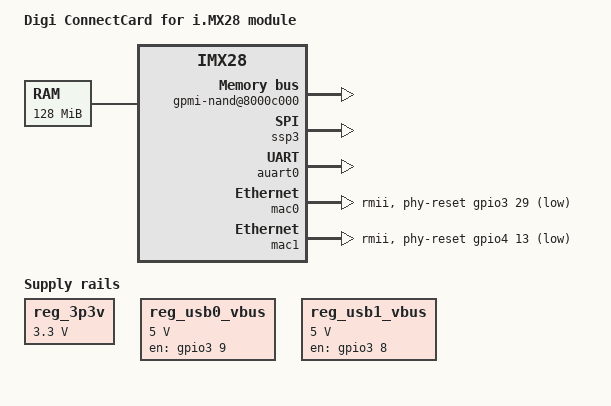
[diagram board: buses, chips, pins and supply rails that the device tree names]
/*
 * Copyright 2013 Digi International, Inc.
 *
 * The code contained herein is licensed under the GNU General Public
 * License. You may obtain a copy of the GNU General Public License
 * Version 2 or later at the following locations:
 *
 * http://www.opensource.org/licenses/gpl-license.html
 * http://www.gnu.org/copyleft/gpl.html
 */

/include/ "imx28.dtsi"

/ {
	/* This DT contains all the available interfaces of
	 * all variants of Digi ConnectCard for i.MX28 module.
	 * The boot loader may modify this device tree at run-time
	 * to accomodate it to the specific module variant detected. */
	model = "Digi ConnectCard for i.MX28 module";
	compatible = "digi,ccardimx28", "fsl,imx28";

	memory {
		/* This needs to be hacked by U-Boot
		 * to write the available DRAM */
		reg = <0x40000000 0x08000000>;
	};

	apb@80000000 {
		apbh@80000000 {
			gpmi-nand@8000c000 {
				pinctrl-names = "default";
				pinctrl-0 = <&gpmi_pins_a &gpmi_status_cfg>;
				status = "okay";
			};

			ssp0: ssp@80010000 {
				compatible = "fsl,imx28-mmc";
				pinctrl-names = "default";
				pinctrl-0 = <&mmc0_4bit_pins_a &mmc0_sck_cfg>;
				bus-width = <4>;
				broken-cd;
				vmmc-supply = <&reg_3p3v>;
				status = "disabled";
			};

			/* SSP0 as SPI port */
//			ssp0: ssp@80010000 {
//				compatible = "fsl,imx28-spi";
//				pinctrl-names = "default";
//				pinctrl-0 = <&spi0_pins_a>;
//				status = "okay";
//			};

			ssp1: ssp@80012000 {
				compatible = "fsl,imx28-spi";
				pinctrl-names = "default";
				pinctrl-0 = <&spi1_pins_a>;
				status = "disabled";
			};

			ssp2: ssp@80014000 {
				compatible = "fsl,imx28-spi";
				pinctrl-names = "default";
				pinctrl-0 = <&spi2_pins_a>;
				status = "disabled";

				flash: m25p80@0 {
					#address-cells = <1>;
					#size-cells = <1>;
					compatible = "sst,sst25vf016b";
					spi-max-frequency = <40000000>;
					reg = <0>;
				};
			};

			ssp3: ssp@80016000 {
				compatible = "fsl,imx28-spi";
				pinctrl-names = "default";
				pinctrl-0 = <&spi3_pins_a>;
				status = "okay";
			};

			can0: can@80032000 {
				pinctrl-names = "default";
				pinctrl-0 = <&can0_pins_a>;
				status = "disabled";
			};

			can1: can@80034000 {
				pinctrl-names = "default";
				pinctrl-0 = <&can1_pins_a>;
				status = "disabled";
			};

			pinctrl@80018000 {
				pinctrl-names = "default";

				led_pin_gpio3_5: led_gpio3_5@0 {
					reg = <0>;
					fsl,pinmux-ids = <
						0x3053 /* MX28_PAD_AUART1_TX__GPIO_3_5 */
					>;
					fsl,drive-strength = <0>;
					fsl,voltage = <1>;
					fsl,pull-up = <0>;
				};

				/* NAND powered at 1.8V */
				gpmi_pins_a: gpmi-nand@0 {
					fsl,voltage = <0>;
				};

				/* I2C1 has external pull-ups on module */
				i2c1_pins_a: i2c1@0 {
					fsl,pull-up = <0>;
				};

				lcdif_pins_ccard: lcdif_ccard@0 {
					reg = <0>;
					fsl,pinmux-ids = <
						0x11e0 /* MX28_PAD_LCD_DOTCLK__LCD_DOTCLK */
						0x11f0 /* MX28_PAD_LCD_ENABLE__LCD_ENABLE */
						0x31e1 /* MX28_PAD_LCD_RESET__LCD_VSYNC */
						0x11d0 /* MX28_PAD_LCD_HSYNC__LCD_HSYNC */
					>;
					fsl,drive-strength = <1>;
					fsl,voltage = <1>;
					fsl,pull-up = <0>;
				};
			};
		};

		apbx@80040000 {
			/* AUART0 connected to Atheros Bluetooth chip */
			auart0: serial@8006a000 {
				pinctrl-names = "default";
				pinctrl-0 = <&auart0_pins_a>;
				status = "okay";
			};

			saif0: saif@80042000 {
				pinctrl-names = "default";
				pinctrl-0 = <&saif0_pins_a>;
				status = "disabled";
			};

			saif1: saif@80046000 {
				pinctrl-names = "default";
				pinctrl-0 = <&saif1_pins_a>;
				fsl,saif-master = <&saif0>;
				status = "disabled";
			};

			lradc@80050000 {
				fsl,lradc-touchscreen-wires = <4>;
				status = "disabled";
			};

			usbphy0: usbphy@8007c000 {
				status = "disabled";
			};

			usbphy1: usbphy@8007e000 {
				status = "disabled";
			};
		};
	};

	ahb@80080000 {
		usb0: usb@80080000 {
			vbus-supply = <&reg_usb0_vbus>;
			status = "disabled";
		};

		usb1: usb@80090000 {
			vbus-supply = <&reg_usb1_vbus>;
			status = "disabled";
		};

		mac0: ethernet@800f0000 {
			phy-mode = "rmii";
			pinctrl-names = "default";
			pinctrl-0 = <&mac0_pins_a>;
			phy-reset-gpios = <&gpio3 29 0>;
			phy-reset-duration = <50>;
			status = "okay";
		};

		mac1: ethernet@800f4000 {
			phy-mode = "rmii";
			pinctrl-names = "default";
			pinctrl-0 = <&mac1_pins_a>;
			phy-reset-gpios = <&gpio4 13 0>;
			phy-reset-duration = <50>;
			status = "okay";
		};
	};

	regulators {
		compatible = "simple-bus";

		reg_3p3v: 3p3v {
			compatible = "regulator-fixed";
			regulator-name = "3P3V";
			regulator-min-microvolt = <3300000>;
			regulator-max-microvolt = <3300000>;
			regulator-always-on;
		};

		reg_usb0_vbus: usb0_vbus {
			compatible = "regulator-fixed";
			regulator-name = "usb0_vbus";
			regulator-min-microvolt = <5000000>;
			regulator-max-microvolt = <5000000>;
			gpio = <&gpio3 9 0>;
			enable-active-high;
		};

		reg_usb1_vbus: usb1_vbus {
			compatible = "regulator-fixed";
			regulator-name = "usb1_vbus";
			regulator-min-microvolt = <5000000>;
			regulator-max-microvolt = <5000000>;
			gpio = <&gpio3 8 0>;
			enable-active-high;
		};
	};

	/* SPI0 (GPIO) */
//	spi0 {
//		compatible = "spi-gpio";
//		pinctrl-0 = <&spi0_pins_b>;
//		gpio-sck = <&gpio2 10 0>;
//		gpio-mosi = <&gpio2 8 0>;
//		gpio-miso = <&gpio2 0 0>;
//		cs-gpios = <&gpio2 3 0>;
//		num-chipselects = <1>;
//		#address-cells = <1>;
//		#size-cells = <0>;
//		status = "disabled";
//	};

	/* SPI1 (GPIO) */
	spi1 {
		compatible = "spi-gpio";
		pinctrl-0 = <&spi1_pins_b>;
		gpio-sck = <&gpio2 12 0>;
		gpio-mosi = <&gpio2 13 0>;
		gpio-miso = <&gpio2 14 0>;
		cs-gpios = <&gpio2 15 0>;
		num-chipselects = <1>;
		#address-cells = <1>;
		#size-cells = <0>;
		status = "disabled";
	};

	/* SPI3 (GPIO) */
	spi3 {
		compatible = "spi-gpio";
		pinctrl-0 = <&spi3_pins_b>;
		gpio-sck = <&gpio2 24 0>;
		gpio-mosi = <&gpio2 25 0>;
		gpio-miso = <&gpio2 26 0>;
		cs-gpios = <&gpio2 27 0>;
		num-chipselects = <1>;
		#address-cells = <1>;
		#size-cells = <0>;
		status = "disabled";
	};
};
